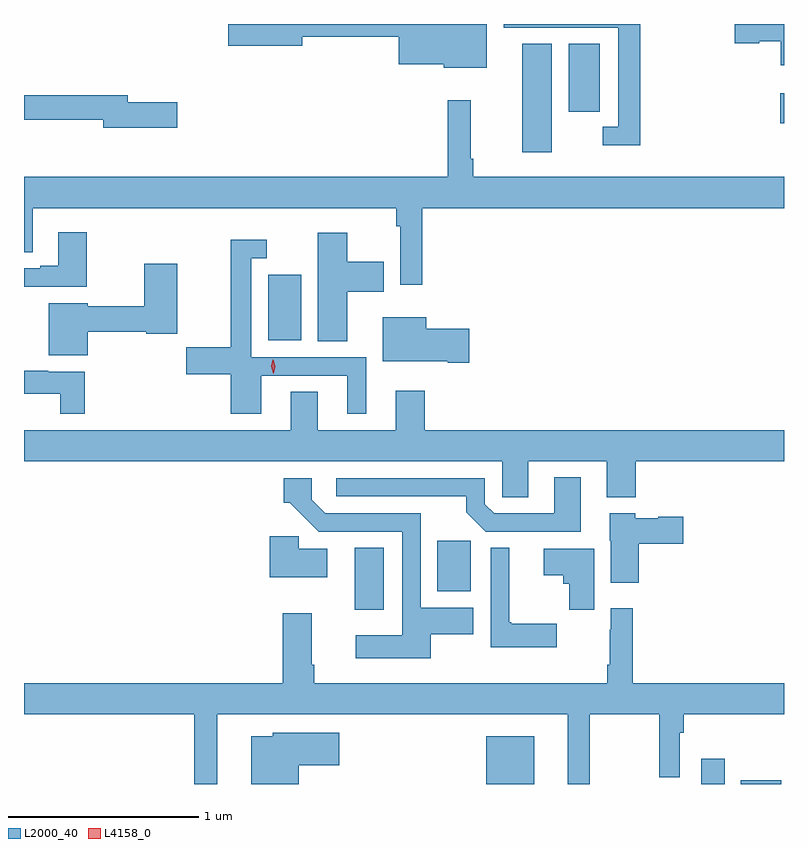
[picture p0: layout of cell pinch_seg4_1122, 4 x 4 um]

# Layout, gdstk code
import gdstk
lib = gdstk.Library(unit=1e-6, precision=1e-09)
def R(c, l, rs):  # rectangles x0, y0, x1, y1
    for r in rs: c.add(gdstk.rectangle(r[:2], r[2:], *l))
def P(c, l, *ps):  # polygons
    for p in ps: c.add(gdstk.Polygon(p, *l))
L2000_40 = (2000, 40)
L4158_0 = (4158, 0)

pinch_seg4_1122 = lib.new_cell('pinch_seg4_1122')
R(pinch_seg4_1122, L2000_40, [(411.782,783.133,412.033,783.385), (412.913,783.133,413.035,783.265), (413.121,783.133,413.334,783.154), (411.089,784.05,411.241,784.376), (411.524,784.148,411.7,784.412), (410.633,785.468,410.806,785.812), (411.971,786.459,412.126,787.028), (413.328,786.611,413.348,786.769), (412.214,786.672,412.378,787.028)])
P(pinch_seg4_1122, L2000_40, [(413.348,787.133),(413.088,787.133),(413.088,787.031),(413.217,787.031),(413.217,787.043),(413.33,787.043),(413.33,786.917),(413.348,786.917)],
  [(411.784,787.133),(410.424,787.133),(410.424,787.019),(410.812,787.019),(410.812,787.066),(411.32,787.066),(411.32,786.92),(411.558,786.92),(411.558,786.902),(411.784,786.902)],
  [(412.592,787.133),(411.872,787.133),(411.872,787.113),(412.476,787.113),(412.476,786.591),(412.395,786.591),(412.395,786.494),(412.592,786.494)],
  [(410.155,786.722),(409.894,786.722),(409.894,786.758),(409.348,786.758),(409.348,786.63),(409.766,786.63),(409.766,786.587),(410.155,786.587)],
  [(411.443,786.164),(413.348,786.164),(413.348,786.328),(411.713,786.328),(411.713,786.424),(411.698,786.424),(411.698,786.733),(411.577,786.733),(411.577,786.328),(409.348,786.328),(409.348,785.932),(409.393,785.932),(409.393,786.164),(411.307,786.164),(411.307,786.068),(411.327,786.068),(411.327,785.76),(411.443,785.76)],
  [(409.677,786.037),(409.529,786.037),(409.529,785.86),(409.433,785.86),(409.433,785.847),(409.348,785.847),(409.348,785.75),(409.677,785.75)],
  [(411.049,785.723),(411.242,785.723),(411.242,785.881),(411.049,785.881),(411.049,786.034),(410.894,786.034),(410.894,785.464),(411.049,785.464)],
  [(410.596,785.283),(411.05,785.283),(411.05,785.082),(411.148,785.082),(411.148,785.379),(410.544,785.379),(410.544,785.901),(410.626,785.901),(410.626,785.998),(410.436,785.998),(410.436,785.432),(410.202,785.432),(410.202,785.29),(410.435,785.29),(410.435,785.082),(410.596,785.082)],
  [(409.684,785.512),(409.992,785.512),(409.992,785.504),(410.154,785.504),(410.154,785.872),(409.981,785.872),(409.981,785.648),(409.684,785.648),(409.684,785.662),(409.478,785.662),(409.478,785.39),(409.684,785.39)],
  [(411.691,785.528),(411.466,785.528),(411.466,785.59),(411.236,785.59),(411.236,785.357),(411.578,785.357),(411.578,785.35),(411.691,785.35)],
  [(409.667,785.302),(409.476,785.302),(409.476,785.308),(409.348,785.308),(409.348,785.186),(409.539,785.186),(409.539,785.081),(409.667,785.081)],
  [(412.003,784.832),(412.415,784.832),(412.415,784.643),(412.568,784.643),(412.568,784.832),(413.348,784.832),(413.348,784.996),(411.458,784.996),(411.458,785.203),(411.305,785.203),(411.305,784.996),(410.893,784.996),(410.893,785.198),(410.753,785.198),(410.753,784.996),(409.348,784.996),(409.348,784.832),(411.864,784.832),(411.864,784.642),(412.003,784.642)],
  [(412.279,784.747),(412.139,784.747),(412.139,784.557),(411.822,784.557),(411.774,784.605),(411.774,784.743),(410.991,784.743),(410.991,784.647),(411.676,784.647),(411.676,784.563),(411.777,784.461),(412.279,784.461)],
  [(411.489,783.92),(411.712,783.92),(411.712,784.06),(411.435,784.06),(411.435,784.557),(410.934,784.557),(410.862,784.629),(410.862,784.743),(410.715,784.743),(410.715,784.613),(410.746,784.613),(410.898,784.461),(411.339,784.461),(411.339,783.916),(411.093,783.916),(411.093,783.794),(411.489,783.794)],
  [(412.583,784.397),(412.819,784.397),(412.819,784.539),(412.686,784.539),(412.686,784.531),(412.566,784.531),(412.566,784.558),(412.43,784.558),(412.43,784.413),(412.436,784.413),(412.436,784.191),(412.583,784.191)],
  [(410.944,784.372),(410.793,784.372),(410.793,784.437),(410.642,784.437),(410.642,784.22),(410.944,784.22)],
  [(412.153,783.976),(411.913,783.976),(411.913,783.984),(411.902,783.984),(411.902,784.376),(411.804,784.376),(411.804,783.854),(412.153,783.854)],
  [(412.348,784.372),(412.083,784.372),(412.083,784.232),(412.187,784.232),(412.187,784.187),(412.219,784.187),(412.219,784.05),(412.348,784.05)],
  [(410.365,783.5),(412.211,783.5),(412.211,783.133),(412.325,783.133),(412.325,783.5),(412.692,783.5),(412.692,783.168),(412.8,783.168),(412.8,783.404),(412.82,783.404),(412.82,783.5),(413.348,783.5),(413.348,783.664),(412.553,783.664),(412.553,784.057),(412.437,784.057),(412.437,783.944),(412.432,783.944),(412.432,783.76),(412.417,783.76),(412.417,783.664),(410.876,783.664),(410.876,783.76),(410.863,783.76),(410.863,784.033),(410.711,784.033),(410.711,783.664),(409.348,783.664),(409.348,783.5),(410.244,783.5),(410.244,783.133),(410.365,783.133)],
  [(410.794,783.233),(411.007,783.233),(411.007,783.403),(410.658,783.403),(410.658,783.385),(410.543,783.385),(410.543,783.133),(410.794,783.133)])
P(pinch_seg4_1122, L4158_0, [(410.661,785.295),(410.661,785.295),(410.65,785.331),(410.658,785.367),(410.659,785.367),(410.659,785.367),(410.67,785.331),(410.662,785.295)])

lib.write_gds('pinch_seg4_1122.gds')
